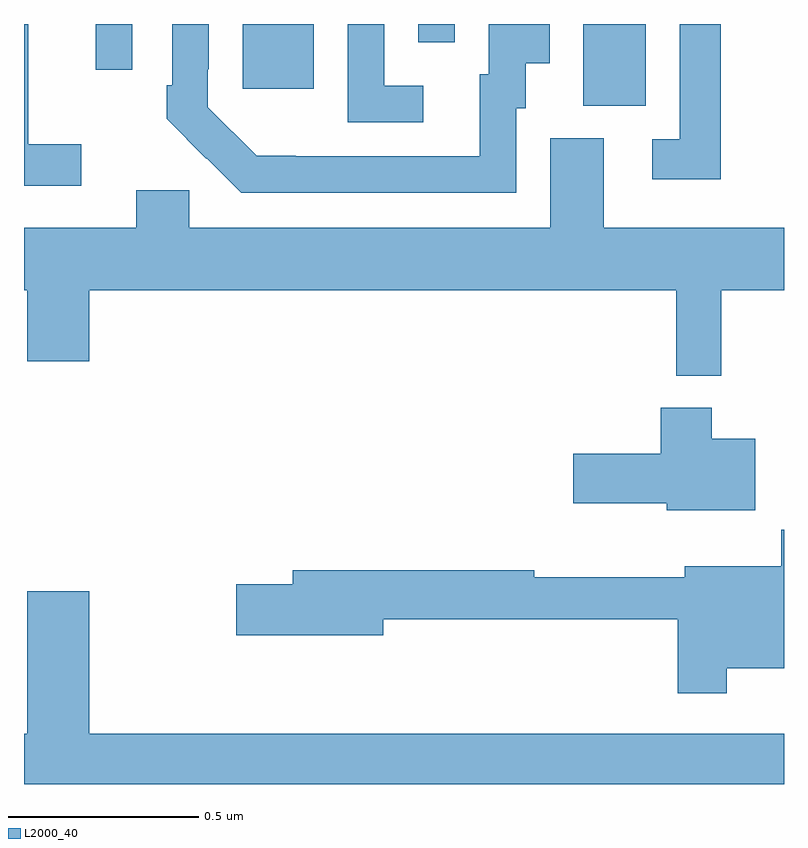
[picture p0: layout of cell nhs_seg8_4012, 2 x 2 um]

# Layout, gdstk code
import gdstk
lib = gdstk.Library(unit=1e-6, precision=1e-09)
def R(c, l, rs):  # rectangles x0, y0, x1, y1
    for r in rs: c.add(gdstk.rectangle(r[:2], r[2:], *l))
def P(c, l, *ps):  # polygons
    for p in ps: c.add(gdstk.Polygon(p, *l))
L2000_40 = (2000, 40)

nhs_seg8_4012 = lib.new_cell('nhs_seg8_4012')
R(nhs_seg8_4012, L2000_40, [(166.472,1083.685,166.636,1083.9), (165.575,1083.729,165.763,1083.9), (165.189,1083.78,165.285,1083.9), (166.038,1083.852,166.134,1083.9)])
P(nhs_seg8_4012, L2000_40, [(166.834,1083.9),(166.725,1083.9),(166.725,1083.597),(166.653,1083.597),(166.653,1083.492),(166.834,1083.492)],
  [(165.151,1083.583),(165.011,1083.583),(165.011,1083.9),(165,1083.9),(165,1083.474),(165.151,1083.474)],
  [(166.051,1083.738),(165.948,1083.738),(165.948,1083.9),(165.852,1083.9),(165.852,1083.642),(166.051,1083.642)],
  [(166.296,1083.678),(166.321,1083.678),(166.321,1083.797),(166.384,1083.797),(166.384,1083.9),(166.223,1083.9),(166.223,1083.768),(166.199,1083.768),(166.199,1083.552),(165.715,1083.552),(165.715,1083.553),(165.612,1083.553),(165.483,1083.681),(165.483,1083.781),(165.486,1083.781),(165.486,1083.9),(165.39,1083.9),(165.39,1083.739),(165.375,1083.739),(165.375,1083.651),(165.48,1083.546),(165.481,1083.547),(165.572,1083.456),(166.296,1083.456)],
  [(166.835,1083.2),(167,1083.2),(167,1083.364),(166.525,1083.364),(166.525,1083.6),(166.385,1083.6),(166.385,1083.364),(165.435,1083.364),(165.435,1083.462),(165.296,1083.462),(165.296,1083.364),(165,1083.364),(165,1083.2),(165.008,1083.2),(165.008,1083.012),(165.172,1083.012),(165.172,1083.2),(166.717,1083.2),(166.717,1082.975),(166.835,1082.975)],
  [(166.924,1082.809),(166.81,1082.809),(166.81,1082.89),(166.676,1082.89),(166.676,1082.769),(166.446,1082.769),(166.446,1082.639),(166.692,1082.639),(166.692,1082.621),(166.924,1082.621)],
  [(166.849,1082.204),(167,1082.204),(167,1082.569),(166.993,1082.569),(166.993,1082.473),(166.739,1082.473),(166.739,1082.444),(166.343,1082.444),(166.343,1082.462),(165.707,1082.462),(165.707,1082.426),(165.558,1082.426),(165.558,1082.291),(165.946,1082.291),(165.946,1082.334),(166.72,1082.334),(166.72,1082.139),(166.849,1082.139)],
  [(167,1082.032),(165.172,1082.032),(165.172,1082.407),(165.008,1082.407),(165.008,1082.032),(165,1082.032),(165,1081.9),(167,1081.9)])

lib.write_gds('nhs_seg8_4012.gds')
